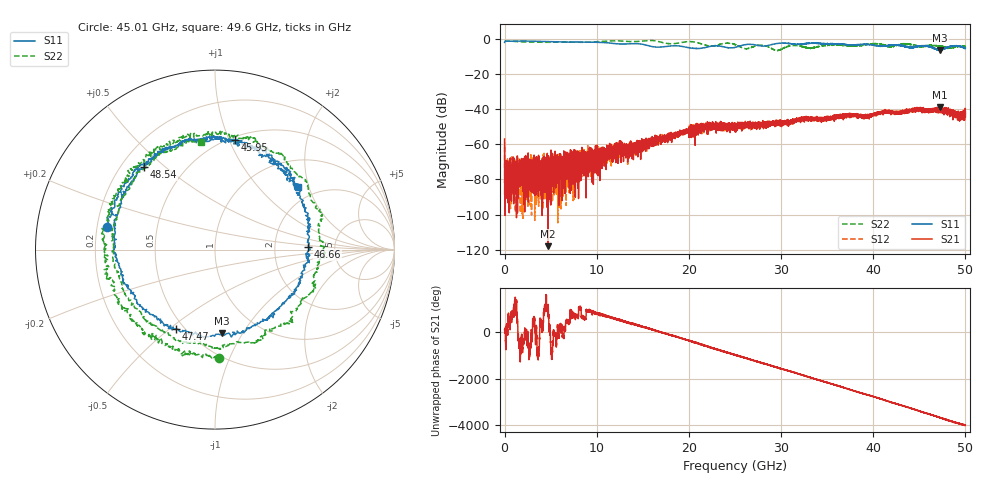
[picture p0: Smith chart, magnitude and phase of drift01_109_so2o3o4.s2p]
!Created with skrf (http://scikit-rf.org).
# Hz S RI R 50.0
!freq ReS11 ImS11 ReS21 ImS21 ReS12 ImS12 ReS22 ImS22
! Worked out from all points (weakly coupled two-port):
!   10001 points, 300 kHz to 50 GHz, reference 50 ohm
!   highest |S21| = -38.88 dB at 47.23 GHz (marker M1); lowest = -118.0 dB at 4.73 GHz (marker M2)
!   lowest |S11| = -6.6 dB at 47.26 GHz (marker M3), VSWR 2.75, Z = 34.4 - j40.8 ohm
!   |S11| at or under -10 dB: nowhere
!   |S22| runs from -6.8 to -1.0 dB; largest |S21 - S12| = 0.0039
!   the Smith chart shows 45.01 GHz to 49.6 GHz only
!   S11 on the Smith chart (normalised r, x): 45.01 GHz: 0.24, +0.10; 45.95 GHz: 0.53, +1.05; 46.66 GHz: 3.16, +0.12; 47.47 GHz: 0.45, -0.53; 48.54 GHz: 0.29, +0.43; 49.6 GHz: 1.62, +1.71
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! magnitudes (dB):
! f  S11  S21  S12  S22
! 300 kHz  -2.1  -57.0  -61.3  -1.3
! 255.3 MHz  -1.4  -85.6  -79.4  -1.4
! 320.3 MHz  -1.4  -85.1  -87.1  -1.3
! 4.73 GHz  -1.6  -118.0  -74.1  -2.1
! 8.335 GHz  -1.9  -66.8  -69.0  -2.1
! 16.67 GHz  -4.8  -57.0  -57.3  -1.6
! 22.06 GHz  -4.7  -48.6  -48.1  -4.1
! 25 GHz  -5.0  -48.1  -50.2  -3.4
! 28.13 GHz  -4.2  -47.9  -48.2  -3.8
! 29.53 GHz  -2.8  -47.7  -48.3  -6.7
! 31.27 GHz  -3.0  -45.5  -46.0  -4.0
! 33.34 GHz  -2.5  -45.6  -45.4  -5.3
! 41.67 GHz  -3.9  -41.2  -41.4  -4.5
! 45.01 GHz  -4.2  -40.4  -39.5  -4.3
! 45.95 GHz  -4.1  -40.1  -40.5  -4.1
! 46.66 GHz  -5.7  -40.6  -40.6  -3.7
! 47.23 GHz  -6.1  -38.9  -39.8  -4.3
! 47.26 GHz  -6.6  -40.5  -40.1  -4.1
! 47.47 GHz  -6.2  -40.5  -40.4  -4.3
! 48.54 GHz  -4.4  -43.5  -41.9  -5.3
! 49.6 GHz  -4.7  -45.4  -42.5  -4.3
! 50 GHz  -5.4  -41.6  -42.4  -4.2
